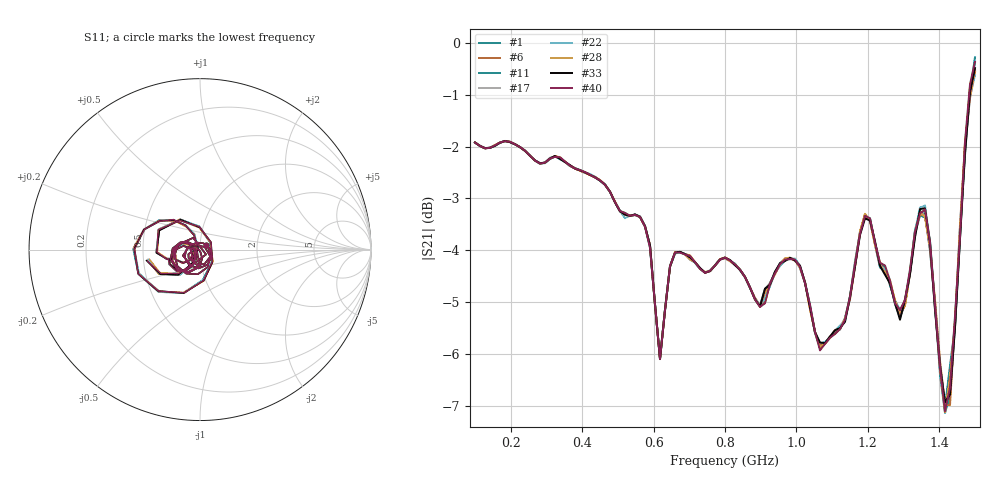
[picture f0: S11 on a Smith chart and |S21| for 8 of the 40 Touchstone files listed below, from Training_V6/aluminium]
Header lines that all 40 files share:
! NanoVNA-App
! Start: 100MHz Stop: 1,5GHz Points: 101
! S-Parameter data: F S11 S21 S12 S22
# Hz S RI R 50
!  Frequency  S11_Real  S11_Imag  S21_Real  S21_Imag  S12_Real  S12_Imag  S22_Real  S22_Imag
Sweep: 100 MHz to 1.5 GHz
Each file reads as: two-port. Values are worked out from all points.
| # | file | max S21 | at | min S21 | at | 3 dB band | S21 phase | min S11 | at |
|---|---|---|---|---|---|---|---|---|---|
| 1 | aluminium (601).s2p | -0.39 dB | 1.5 GHz | -7.1 dB | 1.416 GHz | 100 MHz-562 MHz | 127 deg at 800 MHz | -38.9 dB | 870 MHz |
| 2 | aluminium (602).s2p | -0.46 dB | 1.5 GHz | -7.2 dB | 1.43 GHz | 100 MHz-562 MHz | 127 deg at 800 MHz | -38.7 dB | 870 MHz |
| 3 | aluminium (603).s2p | -0.40 dB | 1.5 GHz | -6.9 dB | 1.416 GHz | 100 MHz-562 MHz | 127 deg at 800 MHz | -39.4 dB | 870 MHz |
| 4 | aluminium (604).s2p | -0.37 dB | 1.5 GHz | -7.1 dB | 1.416 GHz | 100 MHz-562 MHz | 127 deg at 800 MHz | -39.0 dB | 870 MHz |
| 5 | aluminium (605).s2p | -0.46 dB | 1.5 GHz | -7.1 dB | 1.43 GHz | 100 MHz-562 MHz | 127 deg at 800 MHz | -38.8 dB | 870 MHz |
| 6 | aluminium (606).s2p | -0.56 dB | 1.5 GHz | -7.0 dB | 1.43 GHz | 100 MHz-576 MHz | 127 deg at 800 MHz | -39.2 dB | 870 MHz |
| 7 | aluminium (607).s2p | -0.38 dB | 1.5 GHz | -7.0 dB | 1.416 GHz | 100 MHz-562 MHz | 127 deg at 800 MHz | -39.3 dB | 870 MHz |
| 8 | aluminium (608).s2p | -0.61 dB | 1.5 GHz | -7.0 dB | 1.416 GHz | 100 MHz-576 MHz | 127 deg at 800 MHz | -38.8 dB | 870 MHz |
| 9 | aluminium (609).s2p | -0.49 dB | 1.5 GHz | -7.2 dB | 1.416 GHz | 100 MHz-562 MHz | 127 deg at 800 MHz | -38.7 dB | 870 MHz |
| 10 | aluminium (610).s2p | -0.47 dB | 1.5 GHz | -7.1 dB | 1.416 GHz | 100 MHz-562 MHz | 127 deg at 800 MHz | -38.9 dB | 870 MHz |
| 11 | aluminium (611).s2p | -0.28 dB | 1.5 GHz | -7.0 dB | 1.416 GHz | 100 MHz-506 MHz | 127 deg at 800 MHz | -39.0 dB | 870 MHz |
| 12 | aluminium (612).s2p | -0.46 dB | 1.5 GHz | -7.1 dB | 1.416 GHz | 100 MHz-562 MHz | 127 deg at 800 MHz | -38.6 dB | 870 MHz |
| 13 | aluminium (613).s2p | -0.56 dB | 1.5 GHz | -7.1 dB | 1.416 GHz | 100 MHz-576 MHz | 127 deg at 800 MHz | -38.8 dB | 870 MHz |
| 14 | aluminium (614).s2p | -0.48 dB | 1.5 GHz | -6.9 dB | 1.416 GHz | 100 MHz-562 MHz | 127 deg at 800 MHz | -39.1 dB | 870 MHz |
| 15 | aluminium (615).s2p | -0.55 dB | 1.5 GHz | -7.1 dB | 1.416 GHz | 100 MHz-576 MHz | 127 deg at 800 MHz | -39.1 dB | 870 MHz |
| 16 | aluminium (616).s2p | -0.52 dB | 1.5 GHz | -7.2 dB | 1.416 GHz | 100 MHz-562 MHz | 127 deg at 800 MHz | -38.8 dB | 870 MHz |
| 17 | aluminium (617).s2p | -0.55 dB | 1.5 GHz | -7.0 dB | 1.416 GHz | 100 MHz-576 MHz | 127 deg at 800 MHz | -39.3 dB | 870 MHz |
| 18 | aluminium (618).s2p | -0.50 dB | 1.5 GHz | -7.2 dB | 1.416 GHz | 100 MHz-562 MHz | 127 deg at 800 MHz | -38.6 dB | 870 MHz |
| 19 | aluminium (619).s2p | -0.56 dB | 1.5 GHz | -7.0 dB | 1.416 GHz | 100 MHz-576 MHz | 127 deg at 800 MHz | -38.9 dB | 870 MHz |
| 20 | aluminium (620).s2p | -0.52 dB | 1.5 GHz | -7.1 dB | 1.416 GHz | 100 MHz-562 MHz | 127 deg at 800 MHz | -39.0 dB | 870 MHz |
| 21 | aluminium (621).s2p | -0.57 dB | 1.5 GHz | -7.2 dB | 1.416 GHz | 100 MHz-576 MHz | 127 deg at 800 MHz | -39.0 dB | 870 MHz |
| 22 | aluminium (622).s2p | -0.62 dB | 1.5 GHz | -7.0 dB | 1.416 GHz | 100 MHz-576 MHz | 127 deg at 800 MHz | -40.4 dB | 1.444 GHz |
| 23 | aluminium (623).s2p | -0.50 dB | 1.5 GHz | -7.0 dB | 1.416 GHz | 100 MHz-562 MHz | 127 deg at 800 MHz | -38.5 dB | 870 MHz |
| 24 | aluminium (624).s2p | -0.52 dB | 1.5 GHz | -7.0 dB | 1.416 GHz | 100 MHz-562 MHz | 127 deg at 800 MHz | -39.1 dB | 870 MHz |
| 25 | aluminium (625).s2p | -0.61 dB | 1.5 GHz | -7.2 dB | 1.416 GHz | 100 MHz-576 MHz | 127 deg at 800 MHz | -38.6 dB | 870 MHz |
| 26 | aluminium (626).s2p | -0.59 dB | 1.5 GHz | -7.1 dB | 1.416 GHz | 100 MHz-576 MHz | 127 deg at 800 MHz | -39.2 dB | 870 MHz |
| 27 | aluminium (627).s2p | -0.51 dB | 1.5 GHz | -7.0 dB | 1.416 GHz | 100 MHz-562 MHz | 127 deg at 800 MHz | -38.9 dB | 870 MHz |
| 28 | aluminium (628).s2p | -0.53 dB | 1.5 GHz | -7.1 dB | 1.416 GHz | 100 MHz-562 MHz | 127 deg at 800 MHz | -38.9 dB | 870 MHz |
| 29 | aluminium (629).s2p | -0.50 dB | 1.5 GHz | -7.2 dB | 1.416 GHz | 100 MHz-562 MHz | 127 deg at 800 MHz | -38.4 dB | 870 MHz |
| 30 | aluminium (630).s2p | -0.58 dB | 1.5 GHz | -7.1 dB | 1.416 GHz | 100 MHz-576 MHz | 127 deg at 800 MHz | -39.1 dB | 870 MHz |
| 31 | aluminium (631).s2p | -0.58 dB | 1.5 GHz | -7.2 dB | 1.416 GHz | 100 MHz-576 MHz | 127 deg at 800 MHz | -38.9 dB | 870 MHz |
| 32 | aluminium (632).s2p | -0.47 dB | 1.5 GHz | -7.0 dB | 1.416 GHz | 100 MHz-562 MHz | 127 deg at 800 MHz | -39.2 dB | 870 MHz |
| 33 | aluminium (633).s2p | -0.49 dB | 1.5 GHz | -6.9 dB | 1.416 GHz | 100 MHz-562 MHz | 127 deg at 800 MHz | -38.8 dB | 870 MHz |
| 34 | aluminium (634).s2p | -0.60 dB | 1.5 GHz | -7.1 dB | 1.416 GHz | 100 MHz-576 MHz | 127 deg at 800 MHz | -39.2 dB | 870 MHz |
| 35 | aluminium (635).s2p | -0.39 dB | 1.5 GHz | -7.1 dB | 1.416 GHz | 100 MHz-562 MHz | 127 deg at 800 MHz | -38.8 dB | 870 MHz |
| 36 | aluminium (636).s2p | -0.45 dB | 1.5 GHz | -7.1 dB | 1.43 GHz | 100 MHz-562 MHz | 127 deg at 800 MHz | -39.1 dB | 870 MHz |
| 37 | aluminium (637).s2p | -0.44 dB | 1.5 GHz | -7.2 dB | 1.416 GHz | 100 MHz-562 MHz | 127 deg at 800 MHz | -38.6 dB | 870 MHz |
| 38 | aluminium (638).s2p | -0.58 dB | 1.5 GHz | -7.1 dB | 1.416 GHz | 100 MHz-576 MHz | 127 deg at 800 MHz | -39.1 dB | 870 MHz |
| 39 | aluminium (639).s2p | -0.48 dB | 1.5 GHz | -7.0 dB | 1.416 GHz | 100 MHz-562 MHz | 127 deg at 800 MHz | -39.1 dB | 870 MHz |
| 40 | aluminium (640).s2p | -0.36 dB | 1.5 GHz | -7.1 dB | 1.416 GHz | 100 MHz-562 MHz | 127 deg at 800 MHz | -39.2 dB | 870 MHz |
